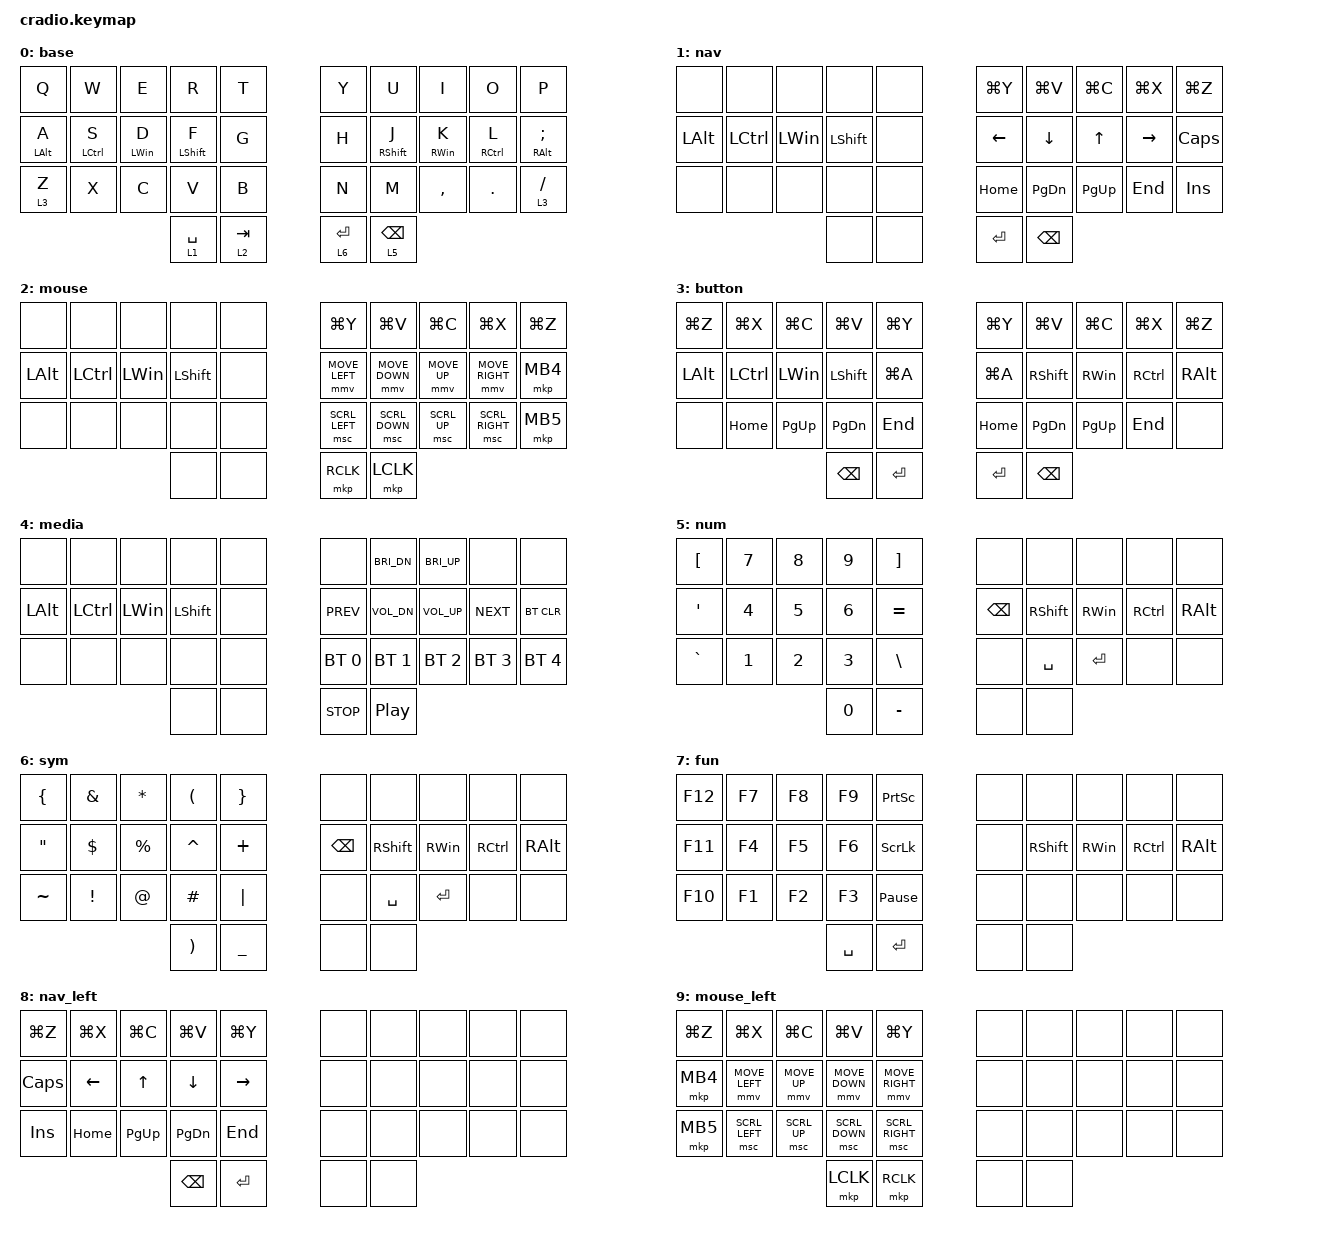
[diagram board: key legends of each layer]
// Copyright (c) 2022 The ZMK Contributors
// SPDX-License-Identifier: MIT

#define ZMK_POINTING_DEFAULT_MOVE_VAL 1500
#define ZMK_POINTING_DEFAULT_SCRL_VAL 20

#include <behaviors.dtsi>
#include <dt-bindings/zmk/bt.h>
#include <dt-bindings/zmk/keys.h>
#include <dt-bindings/zmk/pointing.h>

/ {
    behaviors {
        hrm: hrm {
            compatible = "zmk,behavior-hold-tap";
            #binding-cells = <2>;
            flavor = "balanced";
            tapping-term-ms = <200>;
            quick-tap-ms = <200>;
            bindings = <&kp>, <&kp>;
        };

        hmm: hmm {
            compatible = "zmk,behavior-hold-tap";
            #binding-cells = <2>;
            bindings = <&mo>, <&kp>;

            tapping-term-ms = <200>;
            quick-tap-ms = <200>;
            flavor = "balanced";
        };
    };

    combos {
        compatible = "zmk,combos";

        delete_right {
            bindings = <&kp DELETE>;
            key-positions = <33 25>;
            layers = <1 3>;
        };

        middle_click_right {
            bindings = <&mkp MB3>;
            key-positions = <33 25>;
            layers = <2>;
        };

        delete_left {
            bindings = <&kp DELETE>;
            key-positions = <30 24>;
            layers = <3 8>;
        };

        mute {
            bindings = <&kp C_MUTE>;
            key-positions = <33 25>;
            layers = <4>;
        };

        dot {
            bindings = <&kp DOT>;
            key-positions = <31 23>;
            layers = <5>;
        };

        comma {
            bindings = <&kp COMMA>;
            key-positions = <30 23>;
            layers = <5>;
        };

        caps_word {
            bindings = <&caps_word>;
            key-positions = <13 16>;
            layers = <0>;
        };

        win_left {
            bindings = <&kp LEFT_WIN>;
            key-positions = <13 12>;
        };

        win_right {
            bindings = <&kp RIGHT_WIN>;
            key-positions = <16 17>;
        };

        command_grave_left {
            bindings = <&kp LG(GRAVE)>;
            key-positions = <2 1>;
        };

        escape_media {
            bindings = <&hmm 4 ESCAPE>;
            key-positions = <30 24>;
            layers = <0>;
        };

        delete_fun {
            bindings = <&hmm 7 DELETE>;
            key-positions = <33 25>;
            layers = <0>;
        };

        command_grave_right {
            bindings = <&kp LG(GRAVE)>;
            key-positions = <7 8>;
        };

        go_to_base_left {
            bindings = <&to 0>;
            key-positions = <3 2>;
        };

        go_to_base_right {
            bindings = <&to 0>;
            key-positions = <7 6>;
        };

        constant_nav_left {
            bindings = <&to 1>;
            key-positions = <14 30>;
            layers = <0>;
        };

        constant_mouse_left {
            bindings = <&to 2>;
            key-positions = <14 31>;
            layers = <0>;
        };

        constant_media_left {
            bindings = <&to 4>;
            key-positions = <14 30 24>;
            layers = <0>;
        };

        constant_num_right {
            bindings = <&to 5>;
            key-positions = <15 33>;
            layers = <0>;
        };

        constant_sym_right {
            bindings = <&to 6>;
            key-positions = <15 32>;
            layers = <0>;
        };

        constant_fun_right {
            bindings = <&to 7>;
            key-positions = <15 33 25>;
            layers = <0>;
        };

        constant_nav_right {
            bindings = <&to 1>;
            key-positions = <33 6>;
            layers = <0>;
        };

        constant_mouse_right {
            bindings = <&to 2>;
            key-positions = <32 6>;
            layers = <0>;
        };

        constant_media_right {
            bindings = <&to 4>;
            key-positions = <33 6 25>;
            layers = <0>;
        };

        constant_num_left {
            bindings = <&to 5>;
            key-positions = <30 3>;
            layers = <0>;
        };

        constant_sym_left {
            bindings = <&to 6>;
            key-positions = <31 3>;
            layers = <0>;
        };

        constant_fun_left {
            bindings = <&to 7>;
            key-positions = <30 3 24>;
            layers = <0>;
        };

        middle_click_left {
            bindings = <&mkp MB3>;
            key-positions = <30 24>;
            layers = <9>;
        };

        constant_left_mouse {
            bindings = <&to 9>;
            key-positions = <0 31>;
            layers = <0>;
        };

        constant_left_nav {
            bindings = <&to 8>;
            key-positions = <0 30>;
            layers = <0>;
        };

        russian_dot {
            bindings = <&kp SLASH>;
            key-positions = <31 13>;
            layers = <5 6>;
        };

        russian_comma {
            bindings = <&kp QUESTION>;
            key-positions = <30 13>;
            layers = <5 6>;
        };

        less_than {
            bindings = <&kp LESS_THAN>;
            key-positions = <30 23>;
            layers = <6>;
        };

        greater_than {
            bindings = <&kp GREATER_THAN>;
            key-positions = <31 23>;
            layers = <6>;
        };

        space {
            bindings = <&kp SPACE>;
            key-positions = <30 24>;
            layers = <5 6>;
        };
    };

    keymap {
        compatible = "zmk,keymap";

        base {
            bindings = <
&kp Q            &kp W         &kp E            &kp R              &kp T         &kp Y         &kp U               &kp I             &kp O         &kp P
&hrm LEFT_ALT A  &hrm LCTRL S  &hrm LEFT_WIN D  &hrm LEFT_SHIFT F  &kp G         &kp H         &hrm RIGHT_SHIFT J  &hrm RIGHT_WIN K  &hrm RCTRL L  &hrm RIGHT_ALT SEMI
&hmm 3 Z         &kp X         &kp C            &kp V              &kp B         &kp N         &kp M               &kp COMMA         &kp DOT       &hmm 3 SLASH
                                                &hmm 1 SPACE       &hmm 2 TAB    &hmm 6 ENTER  &hmm 5 BACKSPACE
            >;
        };

        nav {
            bindings = <
&none         &none      &none         &none           &none    &kp LG(Y)       &kp LG(V)       &kp LG(C)     &kp LG(X)  &kp LG(Z)
&kp LEFT_ALT  &kp LCTRL  &kp LEFT_WIN  &kp LEFT_SHIFT  &none    &kp LEFT_ARROW  &kp DOWN_ARROW  &kp UP_ARROW  &kp RIGHT  &kp CAPSLOCK
&none         &none      &none         &none           &none    &kp HOME        &kp PAGE_DOWN   &kp PAGE_UP   &kp END    &kp INSERT
                                       &none           &none    &kp ENTER       &kp BACKSPACE
            >;
        };

        mouse {
            bindings = <
&none         &none      &none         &none           &none    &kp LG(Y)       &kp LG(V)       &kp LG(C)     &kp LG(X)        &kp LG(Z)
&kp LEFT_ALT  &kp LCTRL  &kp LEFT_WIN  &kp LEFT_SHIFT  &none    &mmv MOVE_LEFT  &mmv MOVE_DOWN  &mmv MOVE_UP  &mmv MOVE_RIGHT  &mkp MB4
&none         &none      &none         &none           &none    &msc SCRL_LEFT  &msc SCRL_DOWN  &msc SCRL_UP  &msc SCRL_RIGHT  &mkp MB5
                                       &none           &none    &mkp RCLK       &mkp LCLK
            >;
        };

        button {
            bindings = <
&kp LG(Z)     &kp LG(X)  &kp LG(C)     &kp LG(V)       &kp LG(Y)    &kp LG(Y)  &kp LG(V)        &kp LG(C)      &kp LG(X)  &kp LG(Z)
&kp LEFT_ALT  &kp LCTRL  &kp LEFT_WIN  &kp LEFT_SHIFT  &kp LG(A)    &kp LG(A)  &kp RIGHT_SHIFT  &kp RIGHT_WIN  &kp RCTRL  &kp RIGHT_ALT
&none         &kp HOME   &kp PAGE_UP   &kp PAGE_DOWN   &kp END      &kp HOME   &kp PAGE_DOWN    &kp PAGE_UP    &kp END    &none
                                       &kp BACKSPACE   &kp ENTER    &kp ENTER  &kp BACKSPACE
            >;
        };

        media {
            bindings = <
&none         &none      &none         &none           &none    &none         &kp C_BRI_DN  &kp C_BRI_UP  &none         &none
&kp LEFT_ALT  &kp LCTRL  &kp LEFT_WIN  &kp LEFT_SHIFT  &none    &kp C_PREV    &kp C_VOL_DN  &kp C_VOL_UP  &kp C_NEXT    &bt BT_CLR
&none         &none      &none         &none           &none    &bt BT_SEL 0  &bt BT_SEL 1  &bt BT_SEL 2  &bt BT_SEL 3  &bt BT_SEL 4
                                       &none           &none    &kp C_STOP    &kp C_PP
            >;
        };

        num {
            bindings = <
&kp LEFT_BRACKET  &kp NUMBER_7  &kp NUMBER_8  &kp NUMBER_9  &kp RIGHT_BRACKET    &none          &none            &none          &none      &none
&kp SQT           &kp NUMBER_4  &kp NUMBER_5  &kp NUMBER_6  &kp EQUAL            &kp BACKSPACE  &kp RIGHT_SHIFT  &kp RIGHT_WIN  &kp RCTRL  &kp RIGHT_ALT
&kp GRAVE         &kp NUMBER_1  &kp NUMBER_2  &kp NUMBER_3  &kp BACKSLASH        &none          &kp SPACE        &kp ENTER      &none      &none
                                              &kp NUMBER_0  &kp MINUS            &none          &none
            >;
        };

        sym {
            bindings = <
&kp LEFT_BRACE     &kp AMPERSAND    &kp ASTERISK  &kp LEFT_PARENTHESIS   &kp RIGHT_BRACE    &none          &none            &none          &none      &none
&kp DOUBLE_QUOTES  &kp DOLLAR       &kp PERCENT   &kp CARET              &kp PLUS           &kp BACKSPACE  &kp RIGHT_SHIFT  &kp RIGHT_WIN  &kp RCTRL  &kp RIGHT_ALT
&kp TILDE          &kp EXCLAMATION  &kp AT_SIGN   &kp HASH               &kp PIPE           &none          &kp SPACE        &kp ENTER      &none      &none
                                                  &kp RIGHT_PARENTHESIS  &kp UNDERSCORE     &none          &none
            >;
        };

        fun {
            bindings = <
&kp F12  &kp F7  &kp F8  &kp F9     &kp PRINTSCREEN    &none  &none            &none          &none      &none
&kp F11  &kp F4  &kp F5  &kp F6     &kp SCROLLLOCK     &none  &kp RIGHT_SHIFT  &kp RIGHT_WIN  &kp RCTRL  &kp RIGHT_ALT
&kp F10  &kp F1  &kp F2  &kp F3     &kp PAUSE_BREAK    &none  &none            &none          &none      &none
                         &kp SPACE  &kp ENTER          &none  &none
            >;
        };

        nav_left {
            bindings = <
&kp LG(Z)     &kp LG(X)       &kp LG(C)     &kp LG(V)       &kp LG(Y)    &none  &none  &none  &none  &none
&kp CAPSLOCK  &kp LEFT_ARROW  &kp UP_ARROW  &kp DOWN_ARROW  &kp RIGHT    &none  &none  &none  &none  &none
&kp INSERT    &kp HOME        &kp PAGE_UP   &kp PAGE_DOWN   &kp END      &none  &none  &none  &none  &none
                                            &kp BACKSPACE   &kp ENTER    &none  &none
            >;
        };

        mouse_left {
            bindings = <
&kp LG(Z)  &kp LG(X)       &kp LG(C)     &kp LG(V)       &kp LG(Y)          &none  &none  &none  &none  &none
&mkp MB4   &mmv MOVE_LEFT  &mmv MOVE_UP  &mmv MOVE_DOWN  &mmv MOVE_RIGHT    &none  &none  &none  &none  &none
&mkp MB5   &msc SCRL_LEFT  &msc SCRL_UP  &msc SCRL_DOWN  &msc SCRL_RIGHT    &none  &none  &none  &none  &none
                                         &mkp LCLK       &mkp RCLK          &none  &none
            >;
        };
    };
};
